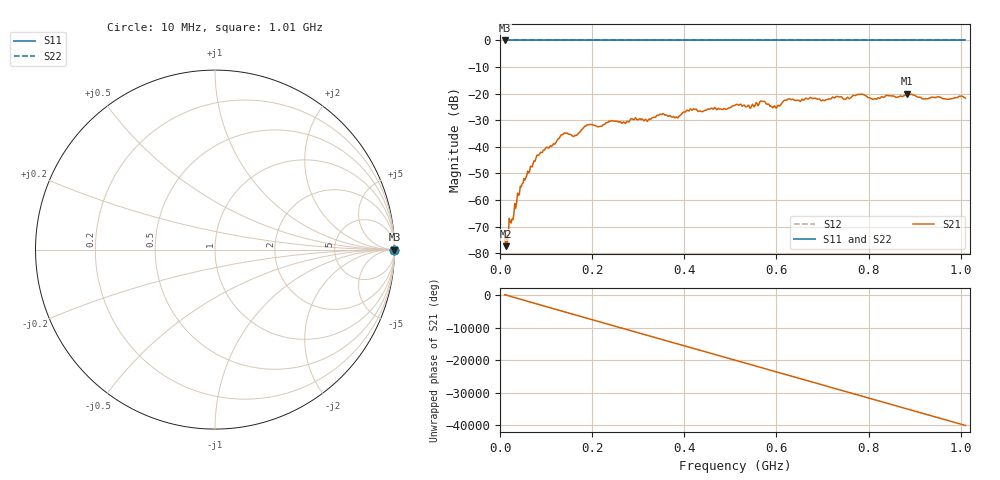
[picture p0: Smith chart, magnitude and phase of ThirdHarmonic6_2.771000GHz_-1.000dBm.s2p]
! 8/17/2025 7:03:08 AM
! C:\ANRITSUVNA\TEMP\TEMP.S2P
! CHANNEL.1
! TR.MEASUREMENT
! RAW.DATA
! RF.CORRECTION.OFF
! AVERAGING.OFF
! IF.BANDWIDTH: 5KHZ
! SWEEPTYPE:  FREQ.SWEEP(Linear)
! Reference Plane Port Info
! PORT:  PORT1  PORT2
! DISTANCE:  0  m  0  m
! TIME:  0  s  0  s
! PHASE.OFFSET:  0  deg.  0  deg.
! LOSS:  0  dB  0  dB
! REF.LOSS:  0  dB  0  dB
! REF.FREQ:  0  Hz  0  Hz
! Power Info
! POWER:  -20  dBm  -20  dBm
! EFF.POWER:  -20  dBm  -20  dBm
! SOURCE.ATTEN:  0  dB  0  dB
! TEST.ATTEN:  0  dB  0  dB
# GHZ S RI R 50.0
! FREQ.GHZ  S11RE  S11IM  S21RE  S21IM  S12RE  S12IM  S22RE  S22IM
!; PortSelection: Port_12
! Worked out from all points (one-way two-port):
!   501 points, 10 MHz to 1.01 GHz, reference 50 ohm
!   highest |S21| = -20.02 dB at 884 MHz (marker M1); lowest = -77.3 dB at 12 MHz (marker M2)
!   lowest |S11| = 0.0 dB at 10 MHz (marker M3)
!   |S11| at or under -10 dB: nowhere
!   |S22| runs from 0.0 to 0.0 dB; largest |S21 - S12| = 1.1
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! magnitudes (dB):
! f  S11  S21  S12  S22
! 10 MHz  0.0  -72.4  0.0  0.0
! 12 MHz  0.0  -77.3  0.0  0.0
! 16 MHz  0.0  -76.1  0.0  0.0
! 48 MHz  0.0  -53.9  0.0  0.0
! 78 MHz  0.0  -44.3  0.0  0.0
! 136 MHz  0.0  -35.4  0.0  0.0
! 162 MHz  0.0  -35.7  0.0  0.0
! 178 MHz  0.0  -33.4  0.0  0.0
! 192 MHz  0.0  -31.7  0.0  0.0
! 316 MHz  0.0  -29.6  0.0  0.0
! 344 MHz  0.0  -28.2  0.0  0.0
! 382 MHz  0.0  -28.8  0.0  0.0
! 416 MHz  0.0  -26.2  0.0  0.0
! 510 MHz  0.0  -24.4  0.0  0.0
! 546 MHz  0.0  -24.6  0.0  0.0
! 570 MHz  0.0  -22.9  0.0  0.0
! 596 MHz  0.0  -24.5  0.0  0.0
! 624 MHz  0.0  -22.1  0.0  0.0
! 678 MHz  0.0  -21.9  0.0  0.0
! 844 MHz  0.0  -20.8  0.0  0.0
! 884 MHz  0.0  -20.0  0.0  0.0
! 1.01 GHz  0.0  -21.7  0.0  0.0
